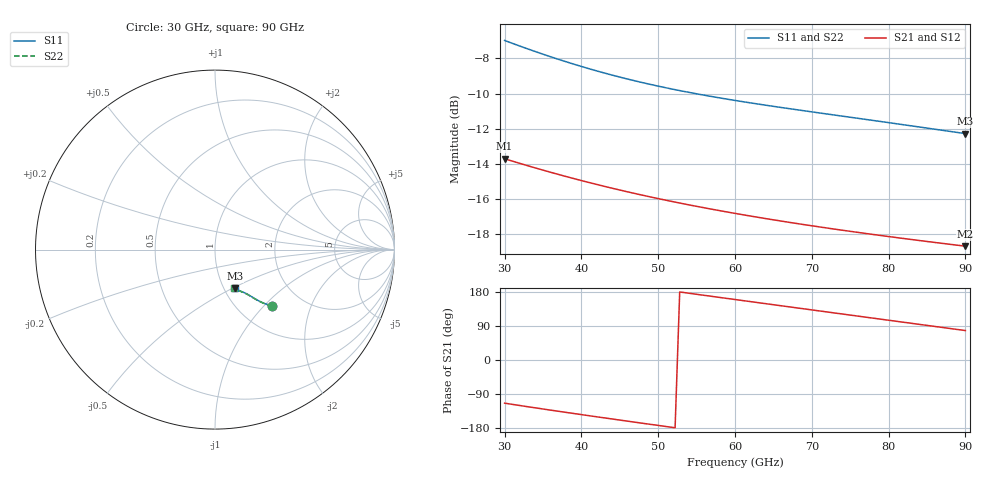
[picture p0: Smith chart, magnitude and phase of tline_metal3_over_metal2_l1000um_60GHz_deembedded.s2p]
! Created with skrf 2.2.0 (http://scikit-rf.org).
# GHz S DB R 50.0
! Port[1] = P1
! Port[2] = P2
!freq dBS11 angS11 dBS21 angS21 dBS12 angS12 dBS22 angS22
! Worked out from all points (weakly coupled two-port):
!   101 points, 30 GHz to 90 GHz, reference 50 ohm
!   highest |S21| = -13.71 dB at 30 GHz (marker M1); lowest = -18.7 dB at 90 GHz (marker M2)
!   lowest |S11| = -12.3 dB at 90 GHz (marker M3), VSWR 1.64, Z = 56.3 - j25.9 ohm
!   |S11| at or under -10 dB: 54.84 GHz to end of sweep
!   |S22| runs from -12.4 to -7.0 dB; largest |S21 - S12| = 2.2e-13
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30  -6.98 -44.5  -13.71 -113.9  -13.71 -113.9  -6.99 -44.6
32.4  -7.36 -46.0  -14.02 -121.4  -14.02 -121.4  -7.37 -46.0
34.8  -7.73 -47.2  -14.33 -128.7  -14.33 -128.7  -7.74 -47.3
37.2  -8.08 -48.3  -14.62 -135.9  -14.62 -135.9  -8.09 -48.4
40.2  -8.48 -49.5  -14.97 -144.7  -14.97 -144.7  -8.50 -49.6
42.6  -8.78 -50.2  -15.23 -151.7  -15.23 -151.7  -8.80 -50.4
45  -9.06 -50.9  -15.48 -158.5  -15.48 -158.5  -9.08 -51.1
47.4  -9.32 -51.5  -15.72 -165.3  -15.72 -165.3  -9.34 -51.7
50.4  -9.61 -52.3  -16.01 -173.8  -16.01 -173.8  -9.63 -52.5
52.8  -9.83 -52.8  -16.22 179.5  -16.22 179.5  -9.85 -53.0
55.2  -10.03 -53.4  -16.43 172.9  -16.43 172.9  -10.05 -53.6
60  -10.39 -54.5  -16.81 159.6  -16.81 159.6  -10.42 -54.8
63  -10.59 -55.2  -17.03 151.4  -17.03 151.4  -10.63 -55.6
65.4  -10.75 -55.8  -17.21 144.8  -17.21 144.8  -10.79 -56.2
70.2  -11.05 -57.1  -17.53 131.7  -17.53 131.7  -11.10 -57.6
73.2  -11.24 -58.0  -17.72 123.5  -17.72 123.5  -11.28 -58.5
75.6  -11.38 -58.7  -17.87 116.9  -17.87 116.9  -11.44 -59.3
78  -11.53 -59.4  -18.01 110.4  -18.01 110.4  -11.59 -60.0
80.4  -11.68 -60.1  -18.15 103.8  -18.15 103.8  -11.74 -60.8
82.8  -11.82 -60.7  -18.29 97.3  -18.29 97.3  -11.90 -61.5
85.2  -11.97 -61.4  -18.42 90.8  -18.42 90.8  -12.06 -62.2
90  -12.28 -62.6  -18.68 77.7  -18.68 77.7  -12.38 -63.6
